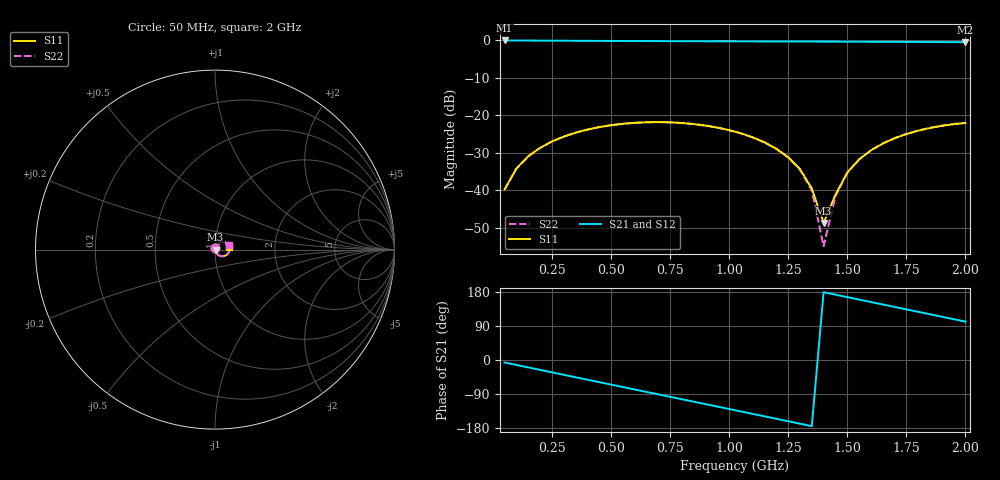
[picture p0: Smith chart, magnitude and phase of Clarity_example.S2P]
!Generated from: C:\Users\peter4656563\Desktop\__Study\Test\43micro_FIT.BNP
! Port1::DQ
! Port2::DQ
!Layout Workbench Version: 23.1.3.12171.472612  300
!Computer Host Name: WINDOW10VM
!TouchstoneFormatFlag = 1
! GNDNET GND
! NETSLIST
#	Hz	S	RI	R	50
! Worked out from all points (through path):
!   40 points, 50 MHz to 2 GHz, reference 50 ohm
!   highest |S21| = -0.02 dB at 50 MHz (marker M1); lowest = -0.5 dB at 2 GHz (marker M2)
!   group delay of S21, straight-line fit = 359 ps
!   lowest |S11| = -48.7 dB at 1.4 GHz (marker M3), VSWR 1.01, Z = 50.4 - j0.0927 ohm
!   |S11| at or under -10 dB: start of sweep to end of sweep
!   |S22| runs from -54.9 to -21.8 dB; largest |S21 - S12| = 0
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5e7  0.0016 0.0101  0.9911 -0.1139  0.9911 -0.1139  0.0016 0.0101
1e8  0.00448 0.019  0.9702 -0.2252  0.9702 -0.2252  0.00448 0.019
1.5e8  0.00915 0.0268  0.937 -0.3329  0.937 -0.3329  0.00914 0.0268
2.5e8  0.0228 0.0384  0.8356 -0.5331  0.8356 -0.5331  0.0228 0.0384
4e8  0.0489 0.0421  0.6077 -0.7767  0.6077 -0.7767  0.0488 0.0421
5.5e8  0.0715 0.0288  0.3142 -0.9298  0.3142 -0.9298  0.0714 0.0289
7e8  0.0811 0.00446  -0.0113 -0.9771  -0.0113 -0.9771  0.081 0.00451
8.5e8  0.0737 -0.0205  -0.3329 -0.915  -0.3329 -0.915  0.0736 -0.0206
9.5e8  0.0607 -0.0321  -0.5276 -0.816  -0.5276 -0.816  0.0605 -0.0323
1.05e9  0.044 -0.037  -0.6952 -0.6763  -0.6952 -0.6763  0.0437 -0.0373
1.15e9  0.027 -0.0342  -0.8274 -0.5028  -0.8274 -0.5028  0.0264 -0.0345
1.25e9  0.0131 -0.0243  -0.9172 -0.3042  -0.9172 -0.3042  0.012 -0.0246
1.3e9  0.00813 -0.0173  -0.9447 -0.1986  -0.9447 -0.1986  0.00675 -0.0175
1.35e9  0.0049 -0.00938  -0.96 -0.0907  -0.96 -0.0907  0.00325 -0.0094
1.4e9  0.00355 -0.000921  -0.963 0.0182  -0.963 0.0182  0.00163 -0.000743
1.45e9  0.00415 0.00762  -0.9537 0.1266  -0.9537 0.1266  0.00197 0.00807
1.5e9  0.00668 0.0158  -0.9321 0.2331  -0.9321 0.2331  0.00424 0.0166
1.55e9  0.011 0.0232  -0.8986 0.3363  -0.8986 0.3363  0.00834 0.0244
1.6e9  0.0169 0.0295  -0.8537 0.4349  -0.8537 0.4349  0.0141 0.0312
1.7e9  0.0322 0.0374  -0.7323 0.6132  -0.7323 0.6132  0.0292 0.0401
1.85e9  0.0579 0.0351  -0.485 0.8176  -0.485 0.8176  0.0554 0.0399
2e9  0.0771 0.017  -0.186 0.9278  -0.186 0.9278  0.076 0.0239
